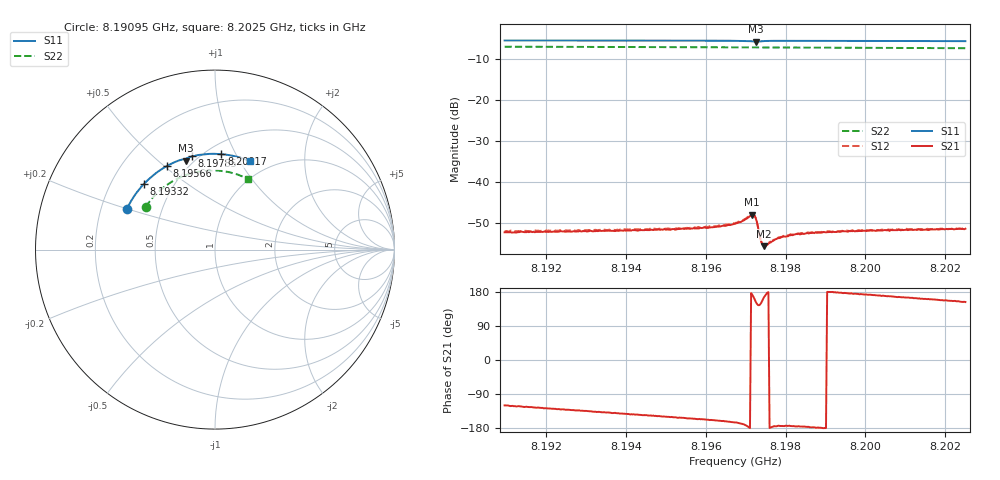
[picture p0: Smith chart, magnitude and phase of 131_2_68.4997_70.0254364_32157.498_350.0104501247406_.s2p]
#  HZ  S  RI  R  50.00
! Rohde & Schwarz Vector Network Analyzer
! Rohde-Schwarz,ZNB20-2Port,1311601062101988,3.16
! Created: UTC 3/20/2024, 4:54:23 PM
! freq[Hz]  re:S11  im:S11  re:S21  im:S21  re:S12  im:S12  re:S22  im:S22
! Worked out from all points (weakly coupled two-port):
!   401 points, 8.19095 GHz to 8.2025 GHz, reference 50 ohm
!   highest |S21| = -47.99 dB at 8.19716 GHz (marker M1); lowest = -55.7 dB at 8.19745 GHz (marker M2)
!   lowest |S11| = -5.6 dB at 8.19725 GHz (marker M3), VSWR 3.18, Z = 22.8 + j31.1 ohm
!   |S11| at or under -10 dB: nowhere
!   |S22| runs from -7.2 to -6.9 dB; largest |S21 - S12| = 0.00019
!   S11 on the Smith chart (normalised r, x): 8.19095 GHz: 0.31, +0.20; 8.19332 GHz: 0.34, +0.35; 8.19566 GHz: 0.39, +0.51; 8.19785 GHz: 0.46, +0.67; 8.20017 GHz: 0.59, +0.88; 8.2025 GHz: 0.81, +1.11
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8.190951e9  -0.4906 0.2267  -0.00121 -0.00211  -0.00129 -0.00216  -0.3863 0.2374
8.192886e9  -0.4178 0.3413  -0.00172 -0.0018  -0.00184 -0.00177  -0.3177 0.32
8.19332e9  -0.3977 0.3642  -0.00185 -0.00173  -0.00197 -0.00171  -0.2999 0.336
8.194822e9  -0.3183 0.434  -0.00223 -0.00141  -0.00235 -0.00132  -0.2313 0.384
8.195659e9  -0.2682 0.4657  -0.00244 -0.00117  -0.00251 -0.00111  -0.1894 0.4049
8.196208e9  -0.2332 0.4835  -0.00263 -0.00102  -0.00274 -0.000924  -0.1607 0.4161
8.196728e9  -0.1979 0.4979  -0.00298 -0.000808  -0.00305 -0.000708  -0.1329 0.4248
8.196901e9  -0.1849 0.5016  -0.00325 -0.000666  -0.00335 -0.000537  -0.1235 0.4275
8.197161e9  -0.1634 0.5007  -0.00395 0.000544  -0.00397 0.000735  -0.1093 0.4306
8.197219e9  -0.1613 0.4975  -0.00365 0.00129  -0.00364 0.00145  -0.1061 0.4312
8.197248e9  -0.1617 0.4963  -0.00325 0.00162  -0.00322 0.00171  -0.1045 0.4315
8.197277e9  -0.1628 0.4961  -0.00277 0.00171  -0.00269 0.00187  -0.103 0.4318
8.197392e9  -0.1621 0.5038  -0.00161 0.00085  -0.00161 0.000927  -0.0969 0.4332
8.19745e9  -0.1585 0.5074  -0.00159 0.000428  -0.00163 0.000504  -0.0936 0.4339
8.197508e9  -0.1541 0.5101  -0.00166 0.000186  -0.00171 0.000266  -0.0905 0.4344
8.197739e9  -0.1368 0.5171  -0.00199 -0.000172  -0.00201 -0.00013  -0.0776 0.4367
8.197854e9  -0.1283 0.5194  -0.00206 -0.000212  -0.00212 -0.000178  -0.0711 0.4376
8.198259e9  -0.0994 0.5257  -0.00231 -0.000202  -0.00231 -9.52e-05  -0.0484 0.4398
8.198663e9  -0.0707 0.53  -0.0024 -9.38e-05  -0.00243 -6.34e-06  -0.0257 0.4411
8.200165e9  0.0359 0.5319  -0.00251 0.000386  -0.00255 0.000479  0.0593 0.4351
8.200598e9  0.0664 0.5285  -0.00248 0.000524  -0.00253 0.000656  0.0834 0.4302
8.202505e9  0.196 0.4925  -0.0024 0.00122  -0.00234 0.00129  0.1854 0.3929
